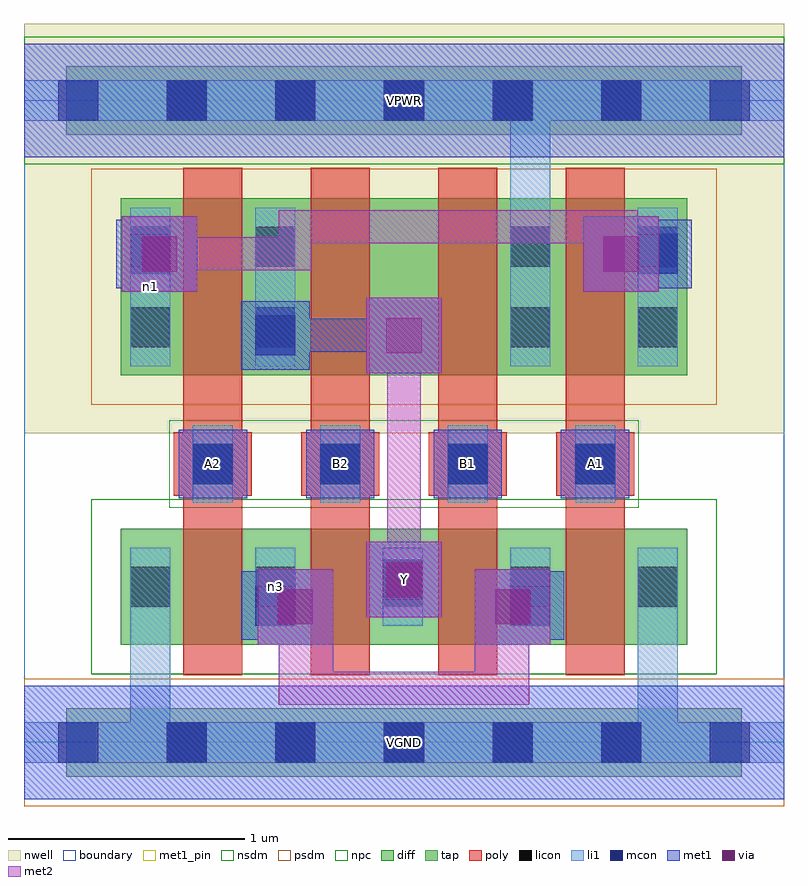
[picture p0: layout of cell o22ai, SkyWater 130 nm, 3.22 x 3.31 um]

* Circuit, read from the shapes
.subckt o22ai A1 A2 B1 B2 VGND VPWR Y n1 n3
XM1 n3 A2 VGND VGND sky130_fd_pr__nfet_01v8 w=0.49 l=0.25
XM2 Y B2 n3 VGND sky130_fd_pr__nfet_01v8 w=0.49 l=0.25
XM3 n3 B1 Y VGND sky130_fd_pr__nfet_01v8 w=0.49 l=0.25
XM4 VGND A1 n3 VGND sky130_fd_pr__nfet_01v8 w=0.49 l=0.25
XM5 Y A2 n1 VPWR sky130_fd_pr__pfet_01v8 w=0.75 l=0.25
XM6 n2 B2 Y VPWR sky130_fd_pr__pfet_01v8 w=0.75 l=0.25
XM7 VPWR B1 n2 VPWR sky130_fd_pr__pfet_01v8 w=0.75 l=0.25
XM8 n1 A1 VPWR VPWR sky130_fd_pr__pfet_01v8 w=0.75 l=0.25
.ends

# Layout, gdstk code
import gdstk
lib = gdstk.Library(unit=1e-6, precision=1e-09)
def R(c, l, rs):  # rectangles x0, y0, x1, y1
    for r in rs: c.add(gdstk.rectangle(r[:2], r[2:], *l))
def A(c, l, x, y, w, h, nx, ny, dx, dy):  # array of equal rectangles
    R(c, l, [(x+i*dx, y+j*dy, x+i*dx+w, y+j*dy+h) for i in range(nx) for j in range(ny)])
nwell = (64, 20)
diff = (65, 20)
tap = (65, 44)
poly = (66, 20)
licon = (66, 44)
li1 = (67, 20)
mcon = (67, 44)
met1_pin = (68, 16)
met1 = (68, 20)
via = (68, 44)
met2 = (69, 20)
nsdm = (93, 44)
psdm = (94, 20)
npc = (95, 20)
boundary = (235, 4)

o22ai = lib.new_cell('o22ai')
R(o22ai, nwell, [(0,1.31,3.22,3.045)])
R(o22ai, diff, [(0.41,0.415,2.81,0.905), (0.41,1.555,2.81,2.305)])
R(o22ai, tap, [(0.18,-0.145,3.04,0.145), (0.18,2.575,3.04,2.865)])
A(o22ai, poly, 0.675, 0.285, 0.25, 2.15, 4, 1, 0.54, 0)
A(o22ai, poly, 0.635, 1.045, 0.33, 0.27, 4, 1, 0.54, 0)
A(o22ai, licon, 0.605, -0.085, 0.17, 0.17, 5, 2, 0.46, 2.72)
A(o22ai, licon, 0.98, 0.575, 0.17, 0.17, 4, 1, 0.54, 0)
A(o22ai, licon, 0.715, 1.095, 0.17, 0.17, 4, 1, 0.54, 0)
R(o22ai, licon, [(0.45,0.575,0.62,0.745), (0.45,1.675,0.62,1.845), (0.98,1.675,1.15,1.845), (2.06,1.675,2.23,1.845), (2.6,1.675,2.77,1.845), (0.45,2.015,0.62,2.185), (0.98,2.015,1.15,2.185), (2.06,2.015,2.23,2.185), (2.6,2.015,2.77,2.185)])
A(o22ai, li1, 0.98, 0.495, 0.17, 0.33, 4, 1, 0.54, 0)
A(o22ai, li1, 0.715, 1.015, 0.17, 0.33, 4, 1, 0.54, 0)
R(o22ai, li1, [(0,-0.085,3.22,0.085), (0.45,-0.085,0.62,0.825), (2.6,-0.085,2.77,0.825), (0.45,0.495,0.62,0.825), (0.45,1.595,0.62,2.265), (0.98,1.595,1.15,2.265), (2.06,1.595,2.23,2.265), (2.06,1.595,2.23,2.805), (2.6,1.595,2.77,2.265), (0,2.635,3.22,2.805)])
A(o22ai, mcon, 0.145, -0.085, 0.17, 0.17, 7, 2, 0.46, 2.72)
A(o22ai, mcon, 0.715, 1.095, 0.17, 0.17, 4, 1, 0.54, 0)
R(o22ai, mcon, [(0.98,0.495,1.15,0.665), (2.06,0.495,2.23,0.665), (1.52,0.605,1.69,0.775), (0.98,1.64,1.15,1.81), (0.45,1.985,0.62,2.155), (2.6,1.985,2.77,2.155)])
A(o22ai, met1_pin, 0.655, 1.035, 0.29, 0.29, 4, 1, 0.54, 0)
R(o22ai, met1_pin, [(0,-0.24,3.22,0.24), (1.45,0.53,1.77,0.85), (0,2.48,3.22,2.96)])
A(o22ai, met1, 0.655, 1.035, 0.29, 0.29, 4, 1, 0.54, 0)
R(o22ai, met1, [(0,-0.24,3.22,0.24), (0.99,0.415,1.31,0.735), (1.91,0.415,2.23,0.735), (0.92,0.435,1.21,0.725), (2,0.435,2.29,0.725), (1.08,0.505,1.22,0.65), (2,0.505,2.14,0.65), (0.995,0.51,1.22,0.65), (2,0.51,2.215,0.65), (1.45,0.53,1.77,0.85), (1.46,0.545,1.75,0.835), (1.535,0.62,1.68,0.76), (1.45,1.565,1.77,1.885), (0.92,1.58,1.21,1.87), (0.995,1.655,1.335,1.795), (1.195,1.655,1.68,1.795), (0.415,1.91,0.735,2.23), (2.37,1.91,2.69,2.23), (0.39,1.925,0.68,2.215), (2.54,1.925,2.83,2.215), (0.465,2,0.645,2.14), (2.46,2,2.755,2.14), (0,2.48,3.22,2.96)])
R(o22ai, via, [(1.075,0.5,1.225,0.65), (1.995,0.5,2.145,0.65), (1.535,0.615,1.685,0.765), (1.535,1.65,1.685,1.8), (0.5,1.995,0.65,2.145), (2.455,1.995,2.605,2.145)])
R(o22ai, met2, [(1.08,0.16,1.22,0.645), (1.08,0.16,2.14,0.3), (2,0.16,2.14,0.645), (1.08,0.3,1.31,0.415), (1.91,0.3,2.14,0.415), (0.99,0.415,1.31,0.735), (1.91,0.415,2.23,0.735), (1.45,0.53,1.77,0.85), (1.54,0.62,1.68,1.795), (1.45,1.565,1.77,1.885), (0.415,1.91,0.735,2.23), (2.37,1.91,2.69,2.23), (0.505,2,1.22,2.14), (1.08,2,1.22,2.255), (2.46,2,2.6,2.255), (1.08,2.115,2.6,2.255)])
R(o22ai, nsdm, [(0.285,0.29,2.935,1.03), (0,2.45,3.22,2.99)])
R(o22ai, psdm, [(0,-0.27,3.22,0.27), (0.285,1.43,2.935,2.43)])
R(o22ai, npc, [(0.615,0.995,2.605,1.365)])
R(o22ai, boundary, [(0,0,3.22,2.72)])
o22ai.add(gdstk.Label('n3', (1.065,0.66), layer=67, texttype=5))
o22ai.add(gdstk.Label('n1', (0.535,1.93), layer=67, texttype=5))
o22ai.add(gdstk.Label('A1', (2.42,1.18), layer=68, texttype=5))
o22ai.add(gdstk.Label('A2', (0.8,1.18), layer=68, texttype=5))
o22ai.add(gdstk.Label('B1', (1.88,1.18), layer=68, texttype=5))
o22ai.add(gdstk.Label('B2', (1.34,1.18), layer=68, texttype=5))
o22ai.add(gdstk.Label('Y', (1.61,0.69), layer=68, texttype=5))
o22ai.add(gdstk.Label('VPWR', (1.61,2.72), layer=68, texttype=5))
o22ai.add(gdstk.Label('VGND', (1.61,0), layer=68, texttype=5))
o22ai.add(gdstk.Label('A1', (2.42,1.18), layer=68, texttype=16))
o22ai.add(gdstk.Label('A2', (0.8,1.18), layer=68, texttype=16))
o22ai.add(gdstk.Label('B1', (1.88,1.18), layer=68, texttype=16))
o22ai.add(gdstk.Label('B2', (1.34,1.18), layer=68, texttype=16))
o22ai.add(gdstk.Label('Y', (1.61,0.69), layer=68, texttype=16))
o22ai.add(gdstk.Label('VPWR', (1.61,2.72), layer=68, texttype=16))
o22ai.add(gdstk.Label('VGND', (1.61,0), layer=68, texttype=16))

lib.write_gds('o22ai.gds')
